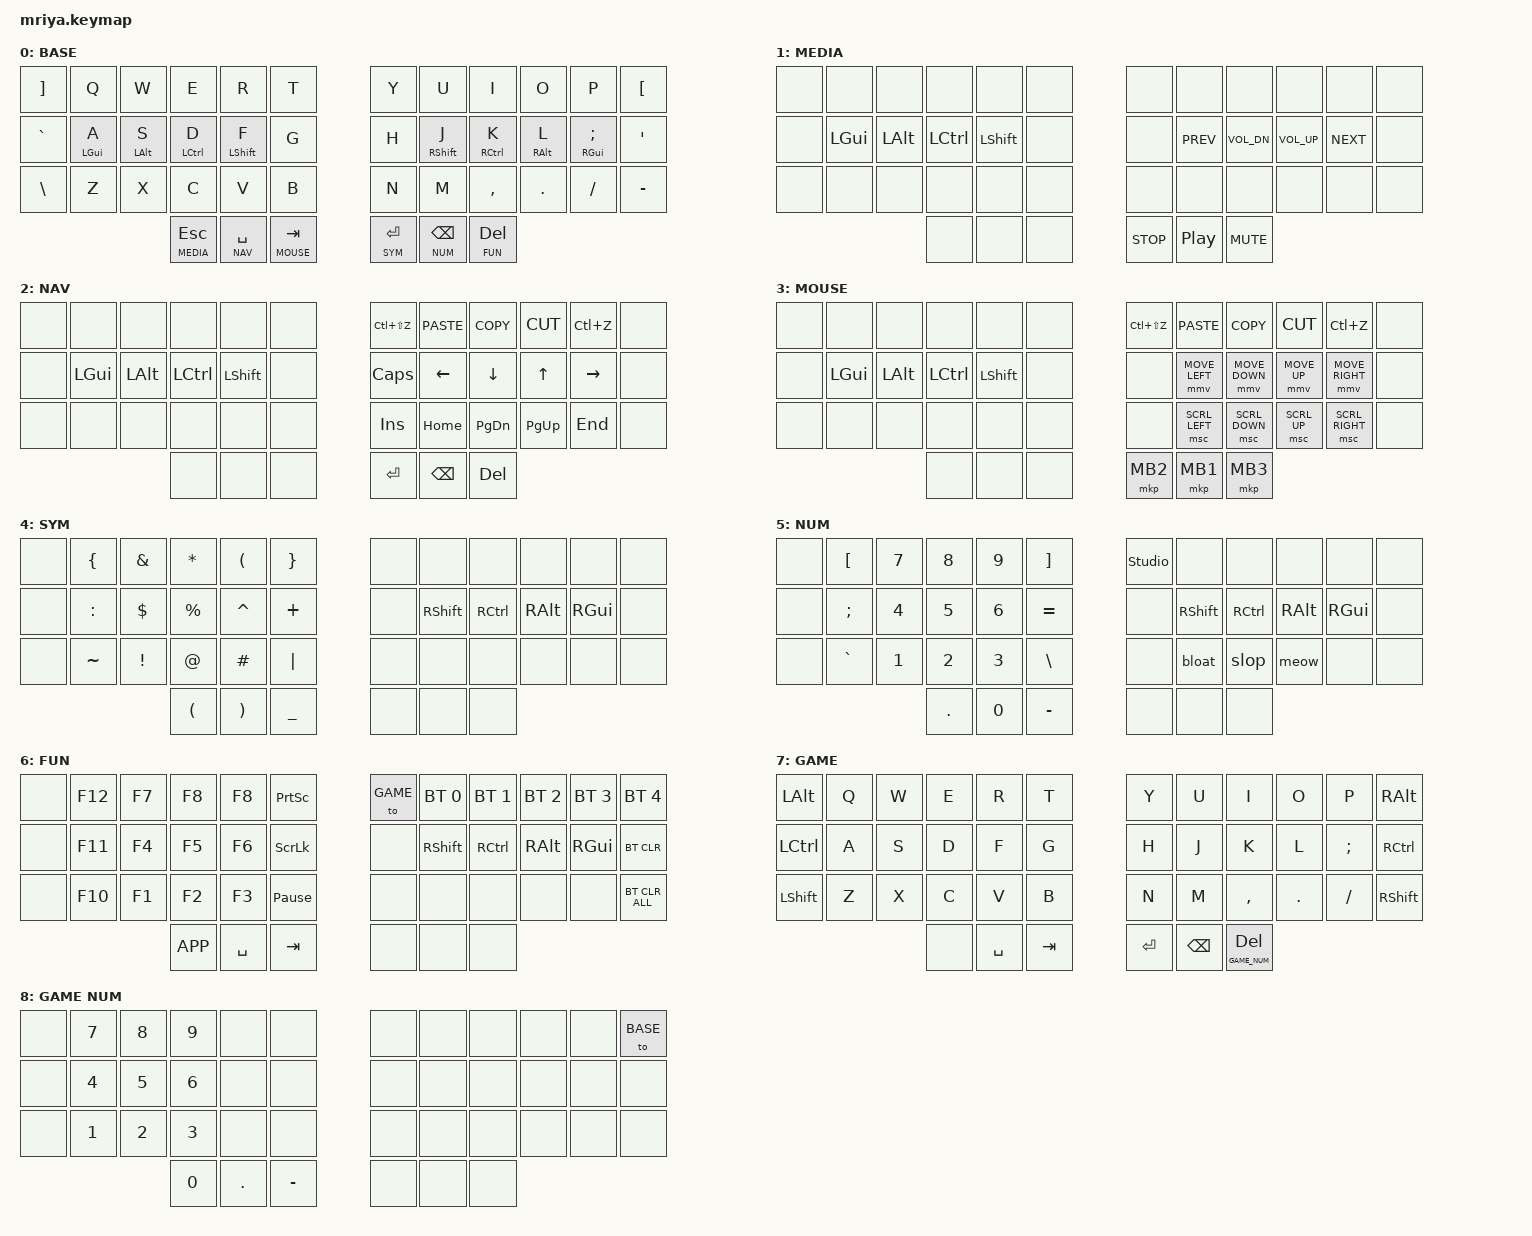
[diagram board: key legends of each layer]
/*
 * Copyright (c) 2020 The ZMK Contributors
 *
 * SPDX-License-Identifier: MIT
 */

#include <behaviors.dtsi>
#include <dt-bindings/zmk/keys.h>
#include <dt-bindings/zmk/bt.h>
#include <dt-bindings/zmk/ext_power.h>
#include <dt-bindings/zmk/pointing.h>

#define ZMK_POINTING_DEFAULT_MOVE_VAL 1500
#define ZMK_POINTING_DEFAULT_SCRL_VAL 15

#define BASE 0
#define MEDIA 1
#define NAV 2
#define MOUSE 3
#define SYM 4
#define NUM 5
#define FUN 6
#define GAME 7
#define GAME_NUM 8

&mmv {
  time-to-max-speed-ms = <300>;
  acceleration-exponent = <1>;
};

&msc {
  time-to-max-speed-ms = <300>;
  acceleration-exponent = <1>;
};

&lt {
  flavor = "balanced";
  tapping-term-ms = <170>;
  quick-tap-ms = <150>;
};

&mt {
  flavor = "balanced";
  tapping-term-ms = <200>;
  quick-tap-ms = <150>;
};

/ {
  macros {
    bloat: bloat {
      compatible = "zmk,behavior-macro";
      #binding-cells = <0>;
      bindings = <&macro_tap &kp B &kp L &kp O &kp A &kp T>;
    };
    slop: slop {
      compatible = "zmk,behavior-macro";
      #binding-cells = <0>;
      bindings = <&macro_tap &kp S &kp L &kp O &kp P>;
    };
    meow: meow {
      compatible = "zmk,behavior-macro";
      #binding-cells = <0>;
      bindings = <&macro_tap &kp M &kp E &kp O &kp W>;
    };
  };
};

/ {
    keymap {
        compatible = "zmk,keymap";

        base_layer {
          label= "BASE";
          bindings = <
/* start format */
&kp RBKT    &kp Q        &kp W        &kp E         &kp R           &kp T                                                &kp Y          &kp U         &kp I         &kp O        &kp P           &kp LBKT
&kp GRAVE   &mt LGUI A   &mt LALT S   &mt LCTRL D   &mt LSHFT F     &kp G                                                &kp H          &mt RSHFT J   &mt RCTRL K   &mt RALT L   &mt RGUI SEMI   &kp SQT
&kp BSLH    &kp Z        &kp X        &kp C         &kp V           &kp B                                                &kp N          &kp M         &kp COMMA     &kp DOT      &kp FSLH        &kp MINUS
                                                    &lt MEDIA ESC   &lt NAV SPACE   &lt MOUSE TAB          &lt SYM RET   &lt NUM BSPC   &lt FUN DEL
/* end format */
          >;
        };
        media_layer {
          label= "MEDIA";
          bindings = <
/* start format */
&none   &none      &none      &none       &none       &none                               &none      &none        &none          &none          &none        &none
&none   &kp LGUI   &kp LALT   &kp LCTRL   &kp LSHFT   &none                               &none      &kp C_PREV   &kp C_VOL_DN   &kp C_VOL_UP   &kp C_NEXT   &none
&none   &none      &none      &none       &none       &none                               &none      &none        &none          &none          &none        &none
                                          &none       &none   &none          &kp C_STOP   &kp C_PP   &kp C_MUTE
/* end format */
          >;
        };

        nav_layer {
          label= "NAV";
          bindings = <
/* start format */
&none   &none      &none      &none       &none       &none                            &kp LC(LS(Z))   &kp K_PASTE   &kp K_COPY   &kp K_CUT   &kp LC(Z)   &none
&none   &kp LGUI   &kp LALT   &kp LCTRL   &kp LSHFT   &none                            &kp CAPS        &kp LEFT      &kp DOWN     &kp UP      &kp RIGHT   &none
&none   &none      &none      &none       &none       &none                            &kp INS         &kp HOME      &kp PG_DN    &kp PG_UP   &kp END     &none
                                          &none       &none   &none          &kp RET   &kp BSPC        &kp DEL
/* end format */
          >;
        };

        mouse_layer {
          label= "MOUSE";
          bindings = <
/* start format */
&none   &none      &none      &none       &none       &none                             &kp LC(LS(Z))   &kp K_PASTE      &kp K_COPY       &kp K_CUT      &kp LC(Z)         &none
&none   &kp LGUI   &kp LALT   &kp LCTRL   &kp LSHFT   &none                             &none           &mmv MOVE_LEFT   &mmv MOVE_DOWN   &mmv MOVE_UP   &mmv MOVE_RIGHT   &none
&none   &none      &none      &none       &none       &none                             &none           &msc SCRL_LEFT   &msc SCRL_DOWN   &msc SCRL_UP   &msc SCRL_RIGHT   &none
                                          &none       &none   &none          &mkp MB2   &mkp MB1        &mkp MB3
/* end format */
          >;
        };

        sym_layer {
          label= "SYM";
          bindings = <
/* start format */
&none   &kp LBRC    &kp AMPS     &kp STAR      &kp LPAR    &kp RBRC                              &none   &none       &none       &none      &none      &none
&none   &kp COLON   &kp DOLLAR   &kp PERCENT   &kp CARET   &kp PLUS                              &none   &kp RSHFT   &kp RCTRL   &kp RALT   &kp RGUI   &none
&none   &kp TILDE   &kp EXCL     &kp AT        &kp HASH    &kp PIPE                              &none   &none       &none       &none      &none      &none
                                               &kp LPAR    &kp RPAR   &kp UNDER          &none   &none   &none
/* end format */
          >;
        };

        num_layer {
          label= "NUM";
          bindings = <
/* start format */
&none   &kp LBKT    &kp N7   &kp N8   &kp N9    &kp RBKT                               &studio_unlock   &none       &none       &none      &none      &none
&none   &kp SEMI    &kp N4   &kp N5   &kp N6    &kp EQUAL                              &none            &kp RSHFT   &kp RCTRL   &kp RALT   &kp RGUI   &none
&none   &kp GRAVE   &kp N1   &kp N2   &kp N3    &kp BSLH                               &none            &bloat      &slop       &meow      &none      &none
                                      &kp DOT   &kp N0      &kp MINUS          &none   &none            &none
/* end format */
          >;
        };

        run_layer {
          label= "FUN";
          bindings = <
/* start format */
&none   &kp F12   &kp F7   &kp F8   &kp F8      &kp PSCRN                                  &to GAME   &bt BT_SEL 0   &bt BT_SEL 1   &bt BT_SEL 2   &bt BT_SEL 3   &bt BT_SEL 4
&none   &kp F11   &kp F4   &kp F5   &kp F6      &kp SLCK                                   &none      &kp RSHFT      &kp RCTRL      &kp RALT       &kp RGUI       &bt BT_CLR
&none   &kp F10   &kp F1   &kp F2   &kp F3      &kp PAUSE_BREAK                            &none      &none          &none          &none          &none          &bt BT_CLR_ALL
                                    &kp K_APP   &kp SPACE         &kp TAB          &none   &none      &none
/* end format */
          >;
        };
        game_layer {
          label= "GAME";
          bindings = <
/* start format */
&kp LALT    &kp Q   &kp W   &kp E   &kp R   &kp T                                  &kp Y      &kp U              &kp I       &kp O     &kp P      &kp RALT
&kp LCTRL   &kp A   &kp S   &kp D   &kp F   &kp G                                  &kp H      &kp J              &kp K       &kp L     &kp SEMI   &kp RCTRL
&kp LSHFT   &kp Z   &kp X   &kp C   &kp V   &kp B                                  &kp N      &kp M              &kp COMMA   &kp DOT   &kp FSLH   &kp RSHFT
                                    &none   &kp SPACE   &kp TAB          &kp RET   &kp BSPC   &lt GAME_NUM DEL
/* end format */
          >;
        };
        game_num_layer {
          label= "GAME NUM";
          bindings = <
/* start format */
&none   &kp N7   &kp N8   &kp N9   &none    &none                                &none   &none   &none   &none   &none   &to BASE
&none   &kp N4   &kp N5   &kp N6   &none    &none                                &none   &none   &none   &none   &none   &none
&none   &kp N1   &kp N2   &kp N3   &none    &none                                &none   &none   &none   &none   &none   &none
                                   &kp N0   &kp DOT   &kp MINUS          &none   &none   &none
/* end format */
          >;
        };
    };
};
